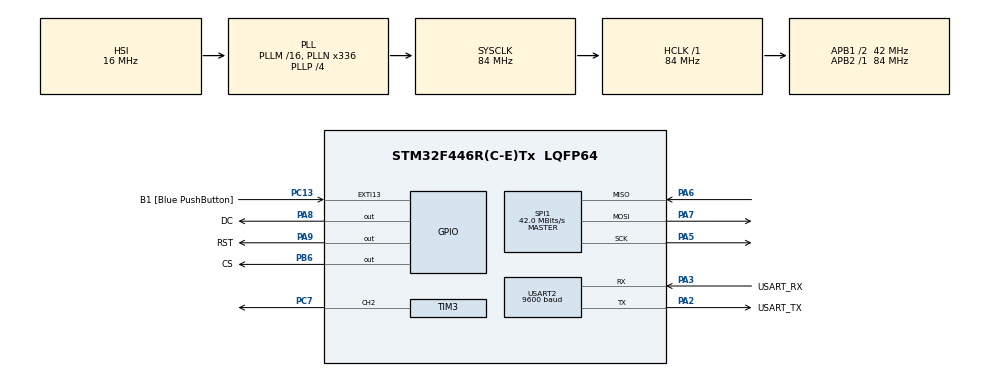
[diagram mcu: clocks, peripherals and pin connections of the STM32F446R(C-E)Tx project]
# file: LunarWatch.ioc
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Mcu.Family=STM32F4
Mcu.Name=STM32F446R(C-E)Tx
Mcu.Package=LQFP64
NVIC.PriorityGroup=NVIC_PRIORITYGROUP_0
PA13.GPIO_Label=TMS
PA13.Mode=Serial_Wire
PA13.Signal=SYS_JTMS-SWDIO
PA14.GPIO_Label=TCK
PA14.Mode=Serial_Wire
PA14.Signal=SYS_JTCK-SWCLK
PA2.GPIO_Label=USART_TX
PA2.Mode=Asynchronous
PA2.Signal=USART2_TX
PA3.GPIO_Label=USART_RX
PA3.Mode=Asynchronous
PA3.Signal=USART2_RX
PA5.Mode=Full_Duplex_Master
PA5.Signal=SPI1_SCK
PA6.Mode=Full_Duplex_Master
PA6.Signal=SPI1_MISO
PA7.Mode=Full_Duplex_Master
PA7.Signal=SPI1_MOSI
PA8.GPIO_Label=DC
PA8.Signal=GPIO_Output
PA9.GPIO_Label=RST
PA9.Signal=GPIO_Output
PB3.GPIO_Label=SWO
PB3.Signal=SYS_JTDO-SWO
PB6.GPIO_Label=CS
PB6.Signal=GPIO_Output
PC13.GPIO_Label=B1 [Blue PushButton]
PC13.GPIO_ModeDefaultEXTI=GPIO_MODE_IT_FALLING
PC13.Signal=GPXTI13
PC14-OSC32_IN.Mode=LSE-External-Oscillator
PC14-OSC32_IN.Signal=RCC_OSC32_IN
PC15-OSC32_OUT.Mode=LSE-External-Oscillator
PC15-OSC32_OUT.Signal=RCC_OSC32_OUT
PC7.Signal=S_TIM3_CH2
PH0-OSC_IN.Mode=HSE-External-Oscillator
PH0-OSC_IN.Signal=RCC_OSC_IN
PH1-OSC_OUT.Mode=HSE-External-Oscillator
PH1-OSC_OUT.Signal=RCC_OSC_OUT
ProjectManager.HeapSize=0x200
ProjectManager.StackSize=0x400
ProjectManager.TargetToolchain=STM32CubeIDE
RCC.48MHZClocksFreq_Value=84000000
RCC.AHBFreq_Value=84000000
RCC.APB1CLKDivider=RCC_HCLK_DIV2
RCC.APB1Freq_Value=42000000
RCC.APB1TimFreq_Value=84000000
RCC.APB2Freq_Value=84000000
RCC.APB2TimFreq_Value=84000000
RCC.CortexFreq_Value=84000000
RCC.FLatency-AdvancedSettings=FLASH_LATENCY_2
RCC.HCLKFreq_Value=84000000
RCC.HSE_VALUE=8000000
RCC.HSI_VALUE=16000000
RCC.PLLN=336
RCC.PLLP=RCC_PLLP_DIV4
RCC.SYSCLKFreq_VALUE=84000000
RCC.SYSCLKSource=RCC_SYSCLKSOURCE_PLLCLK
RCC.USBFreq_Value=168000000
RCC.VCOOutputFreq_Value=336000000
SH.S_TIM3_CH2.0=TIM3_CH2,PWM Generation2 CH2
SPI1.BaudRatePrescaler=SPI_BAUDRATEPRESCALER_2
SPI1.CalculateBaudRate=42.0 MBits/s
SPI1.Direction=SPI_DIRECTION_2LINES
SPI1.Mode=SPI_MODE_MASTER
SPI1.VirtualType=VM_MASTER
TIM3.Channel-PWM\ Generation2\ CH2=TIM_CHANNEL_2
TIM3.Period=10000-1
TIM3.Prescaler=8400-1
USART2.BaudRate=9600
USART2.VirtualMode=VM_ASYNC
VP_RTC_VS_RTC_Activate.Mode=RTC_Enabled
VP_RTC_VS_RTC_Calendar.Mode=RTC_Calendar
board=NUCLEO-F446RE

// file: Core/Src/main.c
/* USER CODE BEGIN Header */
/**
  ******************************************************************************
  * @file           : main.c
  * @brief          : Main program body
  ******************************************************************************
  * @attention
  *
  * Copyright (c) 2023 STMicroelectronics.
  * All rights reserved.
  *
  * This software is licensed under terms that can be found in the LICENSE file
  * in the root directory of this software component.
  * If no LICENSE file comes with this software, it is provided AS-IS.
  *
  ******************************************************************************
  */
/* USER CODE END Header */
#include <display.h>
#include "main.h"
#include "rtc.h"
#include "spi.h"
#include "tim.h"
#include "usart.h"
#include "gpio.h"

/* USER CODE BEGIN Includes */
#include <stdio.h>

#include "lvgl.h"

#include "ui.h"
#include "display.h"
#include "input.h"
/* USER CODE END Includes */

/* USER CODE BEGIN PD */
void renderClock(lv_timer_t * timer);
void lvgl_pause_ms(uint32_t ms);
/* USER CODE END PD */

void SystemClock_Config(void);
/* USER CODE BEGIN PFP */

// routing printf to uart
#ifdef __GNUC__
#define PUTCHAR_PROTOTYPE int __io_putchar(int ch)
#else
#define PUTCHAR_PROTOTYPE int fputc(int ch, FILE *f)
#endif

PUTCHAR_PROTOTYPE
{
  HAL_UART_Transmit(&huart2, (uint8_t *)&ch, 1, HAL_MAX_DELAY);
  return ch;
}

/* USER CODE END PFP */

/* USER CODE BEGIN 0 */

//Frame buffers
/*A static or global variable to store the buffers*/

/*Static or global buffer(s). The second buffer is optional*/
/* USER CODE END 0 */

int main(void)
{

  /* MCU Configuration--------------------------------------------------------*/

  /* Reset of all peripherals, Initializes the Flash interface and the Systick. */
  HAL_Init();

  /* Configure the system clock */
  SystemClock_Config();

  /* Initialize all configured peripherals */
  MX_GPIO_Init();
  MX_USART2_UART_Init();
  MX_TIM3_Init();
  MX_SPI1_Init();
  MX_RTC_Init();
  /* USER CODE BEGIN 2 */

  display_init();
  input_init();

  ui_init();

  /* USER CODE END 2 */

  /* Infinite loop */
  while (1)
  {

    /* USER CODE BEGIN 3 */

	  lv_timer_handler();
	  HAL_Delay(5);
  }
  /* USER CODE END 3 */
}

void SystemClock_Config(void)
{
  RCC_OscInitTypeDef RCC_OscInitStruct = {0};
  RCC_ClkInitTypeDef RCC_ClkInitStruct = {0};

  /** Configure the main internal regulator output voltage
  */
  __HAL_RCC_PWR_CLK_ENABLE();
  __HAL_PWR_VOLTAGESCALING_CONFIG(PWR_REGULATOR_VOLTAGE_SCALE3);

  /** Initializes the RCC Oscillators according to the specified parameters
  * in the RCC_OscInitTypeDef structure.
  */
  RCC_OscInitStruct.OscillatorType = RCC_OSCILLATORTYPE_HSI|RCC_OSCILLATORTYPE_LSI;
  RCC_OscInitStruct.LSEState = RCC_LSE_ON;
  RCC_OscInitStruct.HSIState = RCC_HSI_ON;
  RCC_OscInitStruct.HSICalibrationValue = RCC_HSICALIBRATION_DEFAULT;
  RCC_OscInitStruct.LSIState = RCC_LSI_ON;
  RCC_OscInitStruct.PLL.PLLState = RCC_PLL_ON;
  RCC_OscInitStruct.PLL.PLLSource = RCC_PLLSOURCE_HSI;
  RCC_OscInitStruct.PLL.PLLM = 16;
  RCC_OscInitStruct.PLL.PLLN = 336;
  RCC_OscInitStruct.PLL.PLLP = RCC_PLLP_DIV4;
  RCC_OscInitStruct.PLL.PLLQ = 2;
  RCC_OscInitStruct.PLL.PLLR = 2;
  if (HAL_RCC_OscConfig(&RCC_OscInitStruct) != HAL_OK)
  {
    Error_Handler();
  }

  /** Initializes the CPU, AHB and APB buses clocks
  */
  RCC_ClkInitStruct.ClockType = RCC_CLOCKTYPE_HCLK|RCC_CLOCKTYPE_SYSCLK
                              |RCC_CLOCKTYPE_PCLK1|RCC_CLOCKTYPE_PCLK2;
  RCC_ClkInitStruct.SYSCLKSource = RCC_SYSCLKSOURCE_PLLCLK;
  RCC_ClkInitStruct.AHBCLKDivider = RCC_SYSCLK_DIV1;
  RCC_ClkInitStruct.APB1CLKDivider = RCC_HCLK_DIV2;
  RCC_ClkInitStruct.APB2CLKDivider = RCC_HCLK_DIV1;

  if (HAL_RCC_ClockConfig(&RCC_ClkInitStruct, FLASH_LATENCY_2) != HAL_OK)
  {
    Error_Handler();
  }
}

void Error_Handler(void)
{
  __disable_irq();
  while (1)
  {
  }
}
